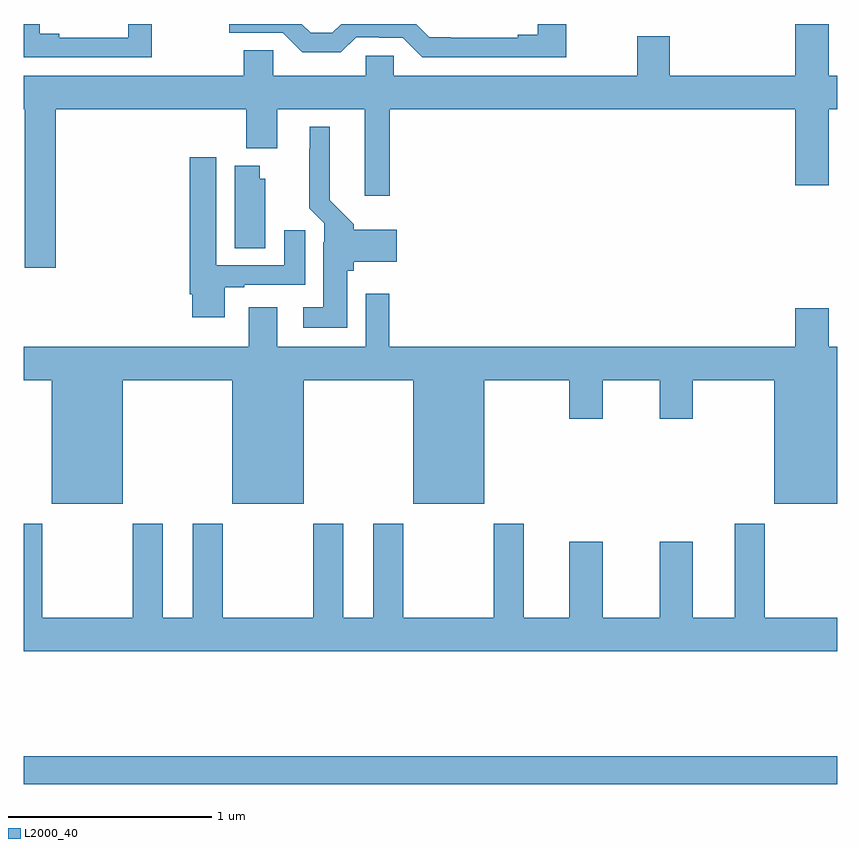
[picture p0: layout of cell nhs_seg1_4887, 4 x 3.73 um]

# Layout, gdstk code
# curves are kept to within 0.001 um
import gdstk
lib = gdstk.Library(unit=1e-6, precision=1e-09)
def R(c, l, rs):  # rectangles x0, y0, x1, y1
    for r in rs: c.add(gdstk.rectangle(r[:2], r[2:], *l))
def P(c, l, *ps):  # polygons
    for p in ps: c.add(gdstk.Polygon(p, *l))
L2000_40 = (2000, 40)

nhs_seg1_4887 = lib.new_cell('nhs_seg1_4887')
R(nhs_seg1_4887, L2000_40, [(377,500.464,381,500.6)])
P(nhs_seg1_4887, L2000_40, [(377.159,503.78),(378.095,503.78),(378.095,503.588),(378.247,503.588),(378.247,503.78),(378.677,503.78),(378.677,503.355),(378.8,503.355),(378.8,503.78),(380.792,503.78),(380.792,503.406),(380.956,503.406),(380.956,503.78),(381,503.78),(381,503.944),(380.956,503.944),(380.956,504.199),(380.792,504.199),(380.792,503.944),(380.177,503.944),(380.177,504.14),(380.017,504.14),(380.017,503.944),(378.819,503.944),(378.819,504.042),(378.681,504.042),(378.681,503.944),(378.228,503.944),(378.228,504.071),(378.082,504.071),(378.082,503.944),(377,503.944),(377,503.78),(377.006,503.78),(377.006,503.001),(377.159,503.001)],
  [(379.666,504.199),(379.526,504.199),(379.526,504.147),(379.43,504.147),(379.43,504.132),(378.995,504.133),(378.929,504.199),(378.562,504.199),(378.518,504.155),(378.412,504.155),(378.368,504.199),(378.012,504.199),(378.012,504.156),(378.273,504.156),(378.37,504.059),(378.56,504.059),(378.636,504.135),(378.749,504.135),(378.749,504.132),(378.864,504.132),(378.96,504.036),(379.666,504.036)],
  [(377.629,504.199),(377.514,504.199),(377.514,504.132),(377.176,504.132),(377.176,504.152),(377.08,504.152),(377.08,504.199),(377,504.199),(377,504.036),(377.629,504.036)],
  [(378.592,502.986),(378.623,502.986),(378.623,503.03),(378.835,503.03),(378.835,503.188),(378.623,503.188),(378.623,503.214),(378.505,503.332),(378.505,503.695),(378.407,503.695),(378.407,503.585),(378.403,503.585),(378.403,503.294),(378.477,503.22),(378.477,503.126),(378.473,503.126),(378.473,502.807),(378.375,502.807),(378.375,502.706),(378.592,502.706)],
  [(377.989,502.905),(378.085,502.905),(378.085,502.917),(378.385,502.917),(378.385,503.185),(378.281,503.185),(378.281,503.013),(377.947,503.013),(377.947,503.545),(377.816,503.545),(377.816,502.87),(377.828,502.87),(377.828,502.758),(377.989,502.758)],
  [(378.187,503.439),(378.16,503.439),(378.16,503.503),(378.038,503.503),(378.038,503.098),(378.187,503.098)],
  [(377.488,502.448),(378.026,502.448),(378.026,501.842),(378.376,501.842),(378.376,502.448),(378.914,502.448),(378.914,501.842),(379.264,501.842),(379.264,502.448),(379.682,502.448),(379.682,502.26),(379.846,502.26),(379.846,502.448),(380.126,502.448),(380.126,502.26),(380.29,502.26),(380.29,502.448),(380.69,502.448),(380.69,501.842),(381,501.842),(381,502.612),(380.956,502.612),(380.956,502.801),(380.792,502.801),(380.792,502.612),(378.797,502.612),(378.797,502.873),(378.681,502.873),(378.681,502.612),(378.247,502.612),(378.247,502.807),(378.107,502.807),(378.107,502.612),(377,502.612),(377,502.448),(377.138,502.448),(377.138,501.842),(377.488,501.842)],
  [(381,501.28),(380.643,501.28),(380.643,501.742),(380.495,501.742),(380.495,501.28),(380.29,501.28),(380.29,501.655),(380.126,501.655),(380.126,501.28),(379.846,501.28),(379.846,501.655),(379.682,501.655),(379.682,501.28),(379.459,501.28),(379.459,501.742),(379.312,501.742),(379.312,501.28),(378.867,501.28),(378.867,501.742),(378.719,501.742),(378.719,501.28),(378.571,501.28),(378.571,501.742),(378.424,501.742),(378.424,501.28),(377.979,501.28),(377.979,501.742),(377.831,501.742),(377.831,501.28),(377.683,501.28),(377.683,501.742),(377.536,501.742),(377.536,501.28),(377.091,501.28),(377.091,501.742),(377,501.742),(377,501.116),(381,501.116)])

lib.write_gds('nhs_seg1_4887.gds')
